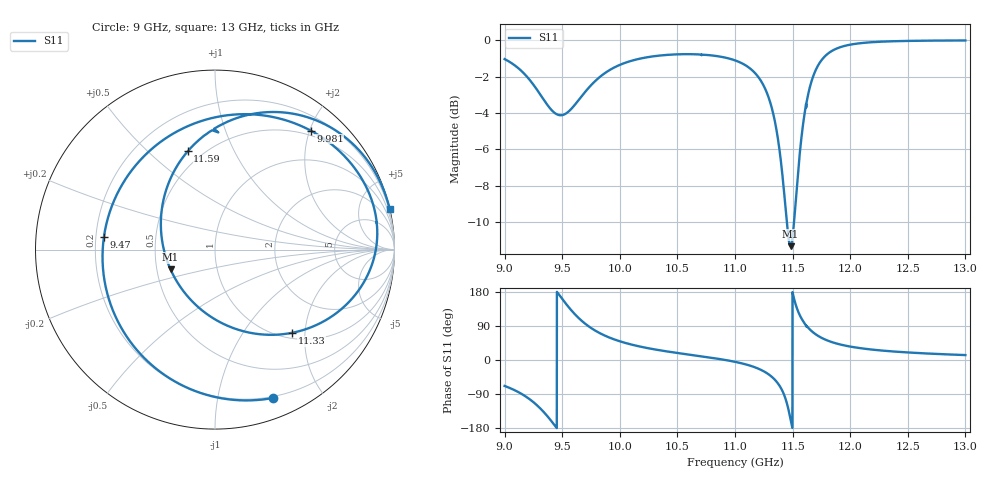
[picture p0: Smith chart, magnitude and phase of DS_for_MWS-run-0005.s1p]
! TOUCHSTONE file generated by CST DESIGN STUDIO
! Date and time: Tue Feb  4 17:48:15 2025
! Project name: C:\Work\MatlabApps\UnitCellOptimizationMatlab\CST\unitcell.cst
! Tree item: Tasks\Sweep1\SPara1\S-Parameters
! Header version: 2024
! Port assignment regex: !\s*Touchstone port\s*([0-9]+)\s*=\s*(CST MWS port|CST DES external port|CST DES block port)\s*(.+)\s* \(\"(.*)\"\)(\s*mode\s*([0-9]+))?.*
! Touchstone port assignment:
! Touchstone port 1 = CST DES external port 1 ("")
# GHz S MA R 50
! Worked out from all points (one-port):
!   4001 points, 9 GHz to 13 GHz, reference 50 ohm
!   lowest |S11| = -11.3 dB at 11.48 GHz (marker M1), VSWR 1.74, Z = 29.5 - j7 ohm
!   |S11| at or under -10 dB: 11.45 GHz to 11.51 GHz (63.04 MHz wide, 0.549 % of centre)
!   S11 on the Smith chart (normalised r, x): 9 GHz: 0.19, -1.45; 9.47 GHz: 0.23, +0.06; 9.981 GHz: 0.42, +2.01; 11.33 GHz: 1.11, -1.71; 11.59 GHz: 0.42, +0.67; 13 GHz: 0.03, +8.78
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9  0.888 -68.5
9.143  0.8253 -88.7
9.251  0.7541 -111.5
9.375  0.6616 -149.5
9.47  0.6228 173.3
9.5  0.6225 161.2
9.6  0.6589 124.1
9.698  0.7203 96.1
9.838  0.7982 69.1
9.981  0.8506 51.3
10  0.8559 49.4
10.216  0.8958 32.9
10.5  0.9151 18.5
11  0.8809 -4.8
11.197  0.7967 -22.1
11.268  0.7282 -33.0
11.33  0.6315 -47.3
11.412  0.4244 -81.8
11.482  0.2712 -156.1
11.5  0.2877 177.9
11.54  0.4062 134.4
11.585  0.5682 105.5
11.661  0.7652 77.4
11.768  0.8951 56.0
11.869  0.9452 44.6
12  0.973 35.4
12.5  0.9963 19.9
13  0.9993 13.0
